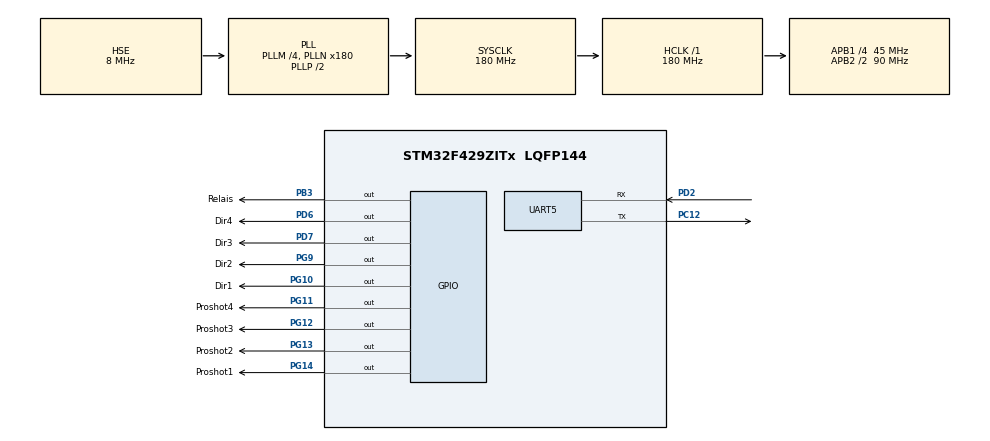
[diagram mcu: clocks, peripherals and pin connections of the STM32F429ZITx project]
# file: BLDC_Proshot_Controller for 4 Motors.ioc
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Mcu.Family=STM32F4
Mcu.Name=STM32F429ZITx
Mcu.Package=LQFP144
NVIC.PriorityGroup=NVIC_PRIORITYGROUP_4
NVIC.UART5_IRQn=true\:0\:0\:false\:false\:true\:true\:true\:true
PB3.GPIO_Label=Relais
PB3.Signal=GPIO_Output
PC12.Mode=Asynchronous
PC12.Signal=UART5_TX
PD2.Mode=Asynchronous
PD2.Signal=UART5_RX
PD6.GPIO_Label=Dir4
PD6.Signal=GPIO_Output
PD7.GPIO_Label=Dir3
PD7.Signal=GPIO_Output
PG10.GPIO_Label=Dir1
PG10.Signal=GPIO_Output
PG11.GPIO_Label=Proshot4
PG11.Signal=GPIO_Output
PG12.GPIO_Label=Proshot3
PG12.Signal=GPIO_Output
PG13.GPIO_Label=Proshot2
PG13.Signal=GPIO_Output
PG14.GPIO_Label=Proshot1
PG14.Signal=GPIO_Output
PG9.GPIO_Label=Dir2
PG9.Signal=GPIO_Output
PH0/OSC_IN.Mode=HSE-External-Oscillator
PH0/OSC_IN.Signal=RCC_OSC_IN
PH1/OSC_OUT.Mode=HSE-External-Oscillator
PH1/OSC_OUT.Signal=RCC_OSC_OUT
ProjectManager.HeapSize=0x200
ProjectManager.StackSize=0x400
ProjectManager.TargetToolchain=STM32CubeIDE
RCC.48MHZClocksFreq_Value=90000000
RCC.AHBFreq_Value=180000000
RCC.APB1CLKDivider=RCC_HCLK_DIV4
RCC.APB1Freq_Value=45000000
RCC.APB1TimFreq_Value=90000000
RCC.APB2CLKDivider=RCC_HCLK_DIV2
RCC.APB2Freq_Value=90000000
RCC.APB2TimFreq_Value=180000000
RCC.CortexFreq_Value=180000000
RCC.HCLKFreq_Value=180000000
RCC.HSE_VALUE=8000000
RCC.HSI_VALUE=16000000
RCC.LSE_VALUE=32768
RCC.PLLM=4
RCC.PLLN=180
RCC.PLLSourceVirtual=RCC_PLLSOURCE_HSE
RCC.SYSCLKFreq_VALUE=180000000
RCC.SYSCLKSource=RCC_SYSCLKSOURCE_PLLCLK
RCC.VCOOutputFreq_Value=360000000
UART5.VirtualMode=Asynchronous
VP_CRC_VS_CRC.Mode=CRC_Activate
board=custom

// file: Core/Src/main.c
/* USER CODE BEGIN Header */
/**
  ******************************************************************************
  * @file           : main.c
  * @brief          : Main program body
  ******************************************************************************
  * @attention
  *
  * Copyright (c) 2024 STMicroelectronics.
  * All rights reserved.
  *
  * This software is licensed under terms that can be found in the LICENSE file
  * in the root directory of this software component.
  * If no LICENSE file comes with this software, it is provided AS-IS.
  *
  *  10.09.2024  JK
  *
  ******************************************************************************
  */
/* USER CODE END Header */
#include "main.h"

CRC_HandleTypeDef hcrc;

UART_HandleTypeDef huart5;

void SystemClock_Config(void);
static void MX_GPIO_Init(void);
static void MX_UART5_Init(void);
static void MX_CRC_Init(void);

/* USER CODE BEGIN 0 */

uint8_t test = 0;
uint8_t ready = 0;
uint8_t Rx_data[1];

const struct Impuls imp = {.Impuls_Delta=22,.Impuls_Base=181,.Impuls_Distance=732};

struct Motor m1;
struct Motor m2;
struct Motor m3;
struct Motor m4;

volatile GPIO_PinState Pintable[8] = {GPIO_PIN_RESET,GPIO_PIN_SET,GPIO_PIN_RESET,GPIO_PIN_SET,GPIO_PIN_RESET,GPIO_PIN_SET,GPIO_PIN_RESET,GPIO_PIN_SET};
volatile uint32_t Pulsetable_M1[8] = {0,0,0,0,0,0,0,0};
volatile uint32_t Pulsetable_M2[8] = {0,0,0,0,0,0,0,0};
volatile uint32_t Pulsetable_M3[8] = {0,0,0,0,0,0,0,0};
volatile uint32_t Pulsetable_M4[8] = {0,0,0,0,0,0,0,0};

volatile unsigned char OC_CH1_N = 0;
volatile unsigned char OC_CH2_N = 0;
volatile unsigned char OC_CH3_N = 0;
volatile unsigned char OC_CH4_N = 0;

/* USER CODE END 0 */

int main(void)
{

  /* MCU Configuration--------------------------------------------------------*/

  /* Reset of all peripherals, Initializes the Flash interface and the Systick. */
  HAL_Init();

  /* Configure the system clock */
  SystemClock_Config();

  /* Initialize all configured peripherals */
  MX_GPIO_Init();
  MX_UART5_Init();
  MX_CRC_Init();

  /* Infinite loop */
  /* USER CODE BEGIN WHILE */

  // Timer 1 pre-settings:

   RCC->APB2ENR = RCC_APB2ENR_TIM1EN; // enable timer 1 in RCC
   TIM1->PSC = 0; //
   TIM1->EGR = TIM_EGR_UG; // update event to write prescaler shadow register
   TIM1->SR = 0; // clear interrupt flag set by the update event
   TIM1->ARR = 11584 - 1; // must be > CCR1 (fuer 64us)
   TIM1->CCR1 = 100 - 1;  // initial OC for motor1
   TIM1->CCR2 = 3010 - 1; // initial OC for motor2
   TIM1->CCR3 = 5820 - 1; // initial OC for motor3
   TIM1->CCR4 = 8630 - 1; // initial OC for motor4
   TIM1->DIER = TIM_DIER_UIE | TIM_DIER_CC4IE | TIM_DIER_CC3IE | TIM_DIER_CC2IE | TIM_DIER_CC1IE; // enable all CC and update interrupts
   NVIC_EnableIRQ(TIM1_CC_IRQn); // enable CC interrupt in NVIC
   NVIC_EnableIRQ(TIM1_UP_TIM10_IRQn); // enable update interrupt in NVIC

   // Timer will be started in  main.cpp

  maincpp();

  while (1)
  {
    /* USER CODE END WHILE */

  }
}

void SystemClock_Config(void)
{
  RCC_OscInitTypeDef RCC_OscInitStruct = {0};
  RCC_ClkInitTypeDef RCC_ClkInitStruct = {0};

  /** Configure the main internal regulator output voltage
  */
  __HAL_RCC_PWR_CLK_ENABLE();
  __HAL_PWR_VOLTAGESCALING_CONFIG(PWR_REGULATOR_VOLTAGE_SCALE1);

  /** Initializes the RCC Oscillators according to the specified parameters
  * in the RCC_OscInitTypeDef structure.
  */
  RCC_OscInitStruct.OscillatorType = RCC_OSCILLATORTYPE_HSE;
  RCC_OscInitStruct.HSEState = RCC_HSE_ON;
  RCC_OscInitStruct.PLL.PLLState = RCC_PLL_ON;
  RCC_OscInitStruct.PLL.PLLSource = RCC_PLLSOURCE_HSE;
  RCC_OscInitStruct.PLL.PLLM = 4;
  RCC_OscInitStruct.PLL.PLLN = 180;
  RCC_OscInitStruct.PLL.PLLP = RCC_PLLP_DIV2;
  RCC_OscInitStruct.PLL.PLLQ = 4;
  if (HAL_RCC_OscConfig(&RCC_OscInitStruct) != HAL_OK)
  {
    Error_Handler();
  }

  /** Activate the Over-Drive mode
  */
  if (HAL_PWREx_EnableOverDrive() != HAL_OK)
  {
    Error_Handler();
  }

  /** Initializes the CPU, AHB and APB buses clocks
  */
  RCC_ClkInitStruct.ClockType = RCC_CLOCKTYPE_HCLK|RCC_CLOCKTYPE_SYSCLK
                              |RCC_CLOCKTYPE_PCLK1|RCC_CLOCKTYPE_PCLK2;
  RCC_ClkInitStruct.SYSCLKSource = RCC_SYSCLKSOURCE_PLLCLK;
  RCC_ClkInitStruct.AHBCLKDivider = RCC_SYSCLK_DIV1;
  RCC_ClkInitStruct.APB1CLKDivider = RCC_HCLK_DIV4;
  RCC_ClkInitStruct.APB2CLKDivider = RCC_HCLK_DIV2;

  if (HAL_RCC_ClockConfig(&RCC_ClkInitStruct, FLASH_LATENCY_5) != HAL_OK)
  {
    Error_Handler();
  }
}

static void MX_CRC_Init(void)
{

  hcrc.Instance = CRC;
  if (HAL_CRC_Init(&hcrc) != HAL_OK)
  {
    Error_Handler();
  }

}

static void MX_UART5_Init(void)
{

  huart5.Instance = UART5;
  huart5.Init.BaudRate = 115200;
  huart5.Init.WordLength = UART_WORDLENGTH_8B;
  huart5.Init.StopBits = UART_STOPBITS_1;
  huart5.Init.Parity = UART_PARITY_NONE;
  huart5.Init.Mode = UART_MODE_TX_RX;
  huart5.Init.HwFlowCtl = UART_HWCONTROL_NONE;
  huart5.Init.OverSampling = UART_OVERSAMPLING_16;
  if (HAL_UART_Init(&huart5) != HAL_OK)
  {
    Error_Handler();
  }

}

static void MX_GPIO_Init(void)
{
  GPIO_InitTypeDef GPIO_InitStruct = {0};

  /* GPIO Ports Clock Enable */
  __HAL_RCC_GPIOH_CLK_ENABLE();
  __HAL_RCC_GPIOC_CLK_ENABLE();
  __HAL_RCC_GPIOD_CLK_ENABLE();
  __HAL_RCC_GPIOG_CLK_ENABLE();
  __HAL_RCC_GPIOB_CLK_ENABLE();

  /*Configure GPIO pin Output Level */
  HAL_GPIO_WritePin(GPIOD, Dir4_Pin|Dir3_Pin, GPIO_PIN_RESET);

  /*Configure GPIO pin Output Level */
  HAL_GPIO_WritePin(GPIOG, Dir2_Pin|Dir1_Pin|Proshot4_Pin|Proshot3_Pin
                          |Proshot2_Pin|Proshot1_Pin, GPIO_PIN_RESET);

  /*Configure GPIO pin Output Level */
  HAL_GPIO_WritePin(Relais_GPIO_Port, Relais_Pin, GPIO_PIN_RESET);

  /*Configure GPIO pins : Dir4_Pin Dir3_Pin */
  GPIO_InitStruct.Pin = Dir4_Pin|Dir3_Pin;
  GPIO_InitStruct.Mode = GPIO_MODE_OUTPUT_PP;
  GPIO_InitStruct.Pull = GPIO_NOPULL;
  GPIO_InitStruct.Speed = GPIO_SPEED_FREQ_LOW;
  HAL_GPIO_Init(GPIOD, &GPIO_InitStruct);

  /*Configure GPIO pins : Dir2_Pin Dir1_Pin Proshot4_Pin Proshot3_Pin
                           Proshot2_Pin Proshot1_Pin */
  GPIO_InitStruct.Pin = Dir2_Pin|Dir1_Pin|Proshot4_Pin|Proshot3_Pin
                          |Proshot2_Pin|Proshot1_Pin;
  GPIO_InitStruct.Mode = GPIO_MODE_OUTPUT_PP;
  GPIO_InitStruct.Pull = GPIO_NOPULL;
  GPIO_InitStruct.Speed = GPIO_SPEED_FREQ_LOW;
  HAL_GPIO_Init(GPIOG, &GPIO_InitStruct);

  /*Configure GPIO pin : Relais_Pin */
  GPIO_InitStruct.Pin = Relais_Pin;
  GPIO_InitStruct.Mode = GPIO_MODE_OUTPUT_PP;
  GPIO_InitStruct.Pull = GPIO_NOPULL;
  GPIO_InitStruct.Speed = GPIO_SPEED_FREQ_LOW;
  HAL_GPIO_Init(Relais_GPIO_Port, &GPIO_InitStruct);

}

/* USER CODE BEGIN 4 */
void HAL_UART_RxCpltCallback(UART_HandleTypeDef *huart)
{
	test = Rx_data[0];
	ready = 1;
	HAL_UART_Receive_IT (&huart5, Rx_data, 1);

}

void TIM1_UP_TIM10_IRQHandler(void)
{
	TIM1->SR = 0; // clear interrupt flags before proceeding
}

// interrupt handler for TIM1 capture/compare event

void TIM1_CC_IRQHandler(void)
{
	uint32_t sr = TIM1->SR; // read interrupt flags
   	TIM1->SR = 0; // clear interrupt flags before proceeding
   	if(sr & TIM_SR_CC1IF)    // Motor 1 will be serviced , CC1 triggered
   	{
   	   HAL_GPIO_WritePin(Proshot1_GPIO_Port,Proshot1_Pin,Pintable[OC_CH1_N]);
	   TIM1->CCR1 = Pulsetable_M1[OC_CH1_N];
	   OC_CH1_N++;
	   if(OC_CH1_N == 8)
	   {
		   OC_CH1_N = 0;
	   }
   	}
	if(sr & TIM_SR_CC2IF)    // Motor 2 will be serviced , CC2 triggered
   	{
	   HAL_GPIO_WritePin(Proshot2_GPIO_Port,Proshot2_Pin,Pintable[OC_CH2_N]);
	   TIM1->CCR2 = Pulsetable_M2[OC_CH2_N];
	   OC_CH2_N++;
	   if(OC_CH2_N == 8)
	   {
		   OC_CH2_N = 0;
	   }
   	}

	if(sr & TIM_SR_CC3IF)    // Motor 3 will be serviced , CC3 triggered
	{
       HAL_GPIO_WritePin(Proshot3_GPIO_Port,Proshot3_Pin,Pintable[OC_CH3_N]);
	   TIM1->CCR3 = Pulsetable_M3[OC_CH3_N];
	   OC_CH3_N++;
	   if(OC_CH3_N == 8)
	   {
		   OC_CH3_N = 0;
	   }
	}

	if(sr & TIM_SR_CC4IF)    // Motor 4 will be serviced , CC4 triggered
	{
		HAL_GPIO_WritePin(Proshot4_GPIO_Port,Proshot4_Pin,Pintable[OC_CH4_N]);
		TIM1->CCR4 = Pulsetable_M4[OC_CH4_N];
		OC_CH4_N++;
		if(OC_CH4_N == 8)
		{
		  OC_CH4_N = 0;
	    }
	}

}

/* USER CODE END 4 */

void Error_Handler(void)
{
  __disable_irq();
  while (1)
  {
  }
}
